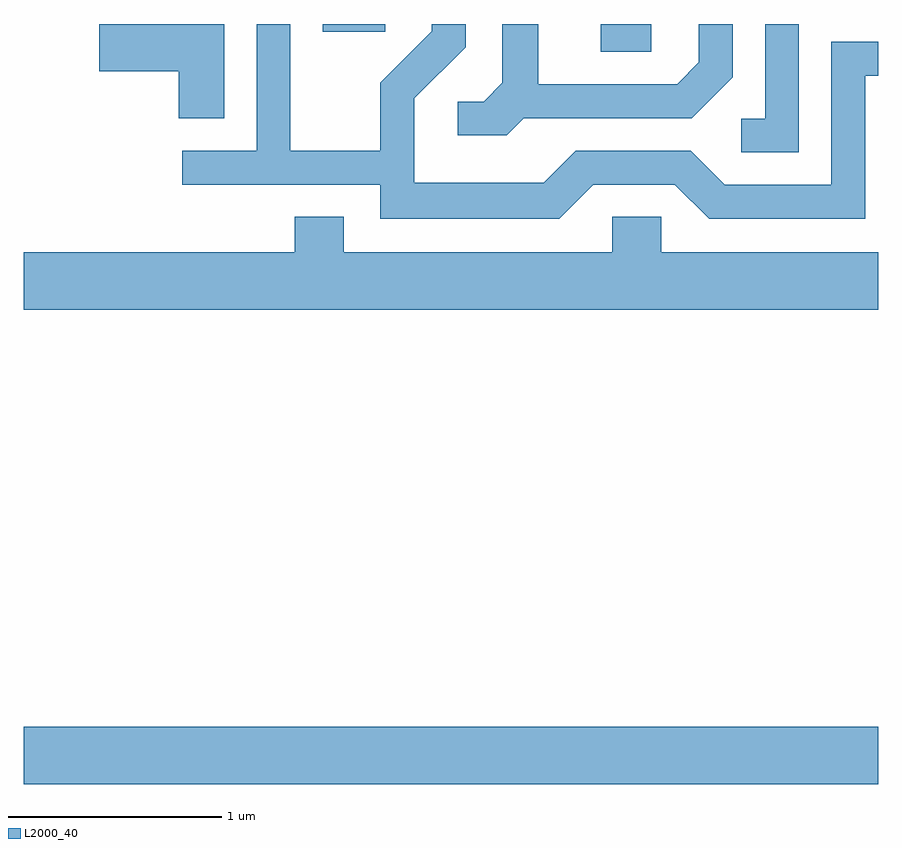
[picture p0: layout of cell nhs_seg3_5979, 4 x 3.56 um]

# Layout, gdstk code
import gdstk
lib = gdstk.Library(unit=1e-6, precision=1e-09)
def R(c, l, rs):  # rectangles x0, y0, x1, y1
    for r in rs: c.add(gdstk.rectangle(r[:2], r[2:], *l))
def P(c, l, *ps):  # polygons
    for p in ps: c.add(gdstk.Polygon(p, *l))
L2000_40 = (2000, 40)

nhs_seg3_5979 = lib.new_cell('nhs_seg3_5979')
R(nhs_seg3_5979, L2000_40, [(359.611,1250.336,363.611,1250.604), (362.311,1253.761,362.549,1253.892), (361.011,1253.856,361.304,1253.892)])
P(nhs_seg3_5979, L2000_40, [(363.239,1253.892),(363.081,1253.892),(363.081,1253.449),(362.968,1253.449),(362.968,1253.291),(363.239,1253.291)],
  [(360.549,1253.892),(359.966,1253.892),(359.966,1253.671),(360.336,1253.671),(360.336,1253.451),(360.549,1253.451)],
  [(362.277,1253.141),(362.659,1253.141),(362.819,1252.981),(363.549,1252.981),(363.549,1253.651),(363.611,1253.651),(363.611,1253.809),(363.391,1253.809),(363.391,1253.139),(362.892,1253.139),(362.732,1253.299),(362.194,1253.299),(362.044,1253.149),(361.439,1253.149),(361.439,1253.544),(361.679,1253.784),(361.679,1253.892),(361.521,1253.892),(361.521,1253.857),(361.281,1253.617),(361.281,1253.299),(360.859,1253.299),(360.859,1253.892),(360.701,1253.892),(360.701,1253.299),(360.353,1253.299),(360.353,1253.141),(361.281,1253.141),(361.281,1252.981),(362.117,1252.981)],
  [(361.952,1253.451),(362.737,1253.451),(362.929,1253.644),(362.929,1253.892),(362.771,1253.892),(362.771,1253.712),(362.669,1253.609),(362.019,1253.609),(362.019,1253.892),(361.851,1253.892),(361.851,1253.617),(361.764,1253.529),(361.643,1253.529),(361.643,1253.371),(361.872,1253.371)],
  [(363.611,1252.824),(362.594,1252.824),(362.594,1252.989),(362.366,1252.989),(362.366,1252.824),(361.109,1252.824),(361.109,1252.989),(360.881,1252.989),(360.881,1252.824),(359.611,1252.824),(359.611,1252.556),(363.611,1252.556)])

lib.write_gds('nhs_seg3_5979.gds')
